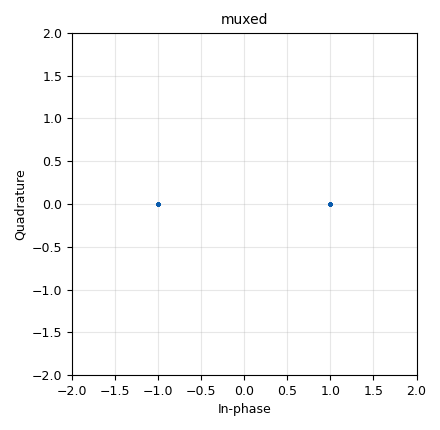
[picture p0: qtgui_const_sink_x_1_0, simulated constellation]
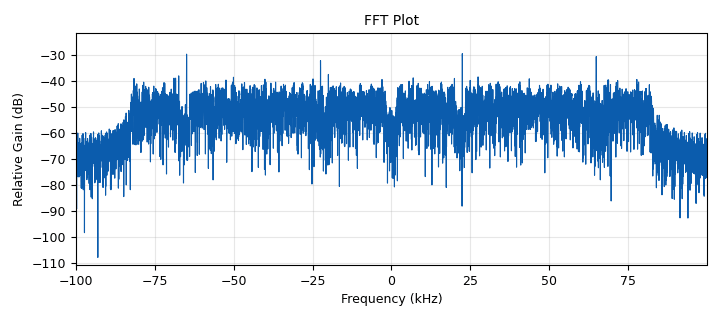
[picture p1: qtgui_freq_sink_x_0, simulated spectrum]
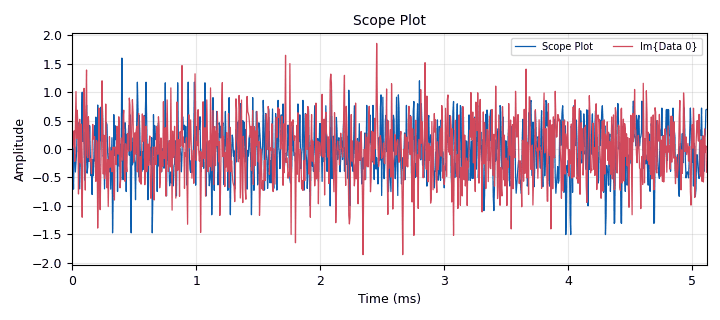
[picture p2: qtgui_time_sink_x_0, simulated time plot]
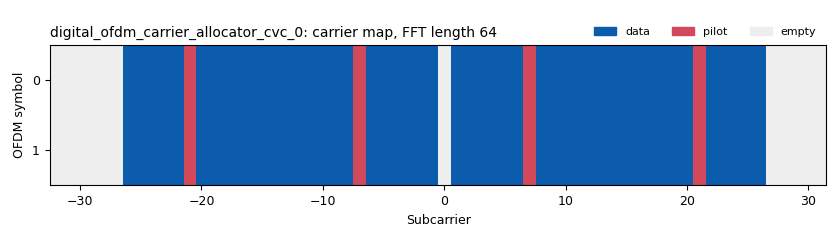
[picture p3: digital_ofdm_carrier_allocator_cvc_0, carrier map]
options:
  parameters:
    category: Custom
    description: Example of an OFDM Transmitter
    generate_options: qt_gui
    id: tx_ofdm
    output_language: python
    run_options: run
    title: OFDM Tx
  states: {}

blocks:
- name: fft_len
  id: variable
  parameters:
    value: '64'
  states: {}
- name: hdr_format
  id: variable
  parameters:
    value: digital.header_format_ofdm(occupied_carriers, 1, length_tag_key,)
  states: {}
- name: header_mod
  id: variable
  parameters:
    value: digital.constellation_bpsk()
  states: {}
- name: length_tag_key
  id: variable
  parameters:
    value: '"packet_len"'
  states: {}
- name: occupied_carriers
  id: variable
  parameters:
    value: (list(range(-26, -21)) + list(range(-20, -7)) + list(range(-6, 0)) + list(range(1, 7)) + list(range(8, 21)) + list(range(22, 27)),)
  states: {}
- name: packet_len
  id: variable
  parameters:
    value: '96'
  states: {}
- name: payload_mod
  id: variable
  parameters:
    value: digital.constellation_bpsk()
  states: {}
- name: pilot_carriers
  id: variable
  parameters:
    value: ((-21, -7, 7, 21,),)
  states: {}
- name: pilot_symbols
  id: variable
  parameters:
    value: ((1, 1, 1, -1,),)
  states: {}
- name: rolloff
  id: variable
  parameters:
    value: '0'
  states: {}
- name: samp_rate
  id: variable
  parameters:
    value: '200000'
  states: {}
- name: sync_word1
  id: variable
  parameters:
    value: '[0., 0., 0., 0., 0., 0., 0., 1.41421356, 0., -1.41421356, 0., 1.41421356, 0., -1.41421356, 0., -1.41421356, 0., -1.41421356, 0., 1.41421356, 0., -1.41421356, 0., 1.41421356, 0., -1.41421356, 0., -1.41421356, 0., -1.41421356, 0., -1.41421356, 0., 1.41421356, 0., -1.41421356, 0., 1.41421356, 0., 1.41421356, 0., 1.41421356, 0., -1.41421356, 0., 1.41421356, 0., 1.41421356, 0., 1.41421356, 0., -1.41421356, 0., 1.41421356, 0., 1.41421356, 0., 1.41421356, 0., 0., 0., 0., 0., 0.]'
  states: {}
- name: sync_word2
  id: variable
  parameters:
    value: '[0, 0, 0, 0, 0, 0, -1, -1, -1, -1, 1, 1, -1, -1, -1, 1, -1, 1, 1, 1, 1, 1, -1, -1, -1, -1, -1, 1, -1, -1, 1, -1, 0, 1, -1, 1, 1, 1, -1, 1, 1, 1, -1, 1, 1, 1, 1, -1, 1, -1, -1, -1, 1, -1, 1, -1, -1, -1, -1, 0, 0, 0, 0, 0] '
  states: {}
- name: tun_gain
  id: variable_qtgui_range
  parameters:
    label: tun_gain
    orient: Qt.Horizontal
    start: '0'
    step: '1'
    stop: '100'
    value: '50'
  states: {}
- name: analog_random_source_x_0
  id: analog_random_source_x
  parameters:
    max: '255'
    min: '0'
    num_samps: '1000'
    repeat: 'True'
    type: byte
  states: {}
- name: blocks_multiply_const_vxx_0
  id: blocks_multiply_const_vxx
  parameters:
    const: '0.1'
    type: complex
  states: {}
- name: blocks_repack_bits_bb_0
  id: blocks_repack_bits_bb
  parameters:
    endianness: gr.GR_LSB_FIRST
    k: '8'
    l: payload_mod.bits_per_symbol()
    len_tag_key: length_tag_key
  states: {}
- name: blocks_repack_bits_bb_0_0
  id: blocks_repack_bits_bb
  parameters:
    endianness: gr.GR_LSB_FIRST
    k: '8'
    l: '1'
    len_tag_key: length_tag_key
  states: {}
- name: blocks_stream_to_tagged_stream_0
  id: blocks_stream_to_tagged_stream
  parameters:
    len_tag_key: length_tag_key
    packet_len: packet_len
    type: byte
  states: {}
- name: blocks_stream_to_vector_0
  id: blocks_stream_to_vector
  parameters:
    num_items: '10240'
    type: complex
  states: {state: disabled}
- name: blocks_tag_debug_0
  id: blocks_tag_debug
  parameters:
    filter: ''
    name: payload_debug
    type: complex
  states: {state: disabled}
- name: blocks_tag_debug_0_0
  id: blocks_tag_debug
  parameters:
    filter: '"packet_len"'
    name: header_debug
    type: byte
  states: {state: disabled}
- name: blocks_tag_gate_0
  id: blocks_tag_gate
  parameters:
    propagate_tags: 'False'
    type: complex
  states: {}
- name: blocks_tagged_stream_mux_0
  id: blocks_tagged_stream_mux
  parameters:
    lengthtagname: length_tag_key
    ninputs: '2'
    type: complex
  states: {}
- name: blocks_unpack_k_bits_bb_0
  id: blocks_unpack_k_bits_bb
  parameters:
    k: '1'
  states: {state: bypassed}
- name: blocks_vector_to_stream_0
  id: blocks_vector_to_stream
  parameters:
    num_items: fft_len
    type: complex
  states: {state: disabled}
- name: digital_chunks_to_symbols_xx_0
  id: digital_chunks_to_symbols_xx
  parameters:
    dimension: '1'
    in_type: byte
    out_type: complex
    symbol_table: header_mod.points()
  states: {}
- name: digital_chunks_to_symbols_xx_0_0
  id: digital_chunks_to_symbols_xx
  parameters:
    dimension: '1'
    in_type: byte
    out_type: complex
    symbol_table: payload_mod.points()
  states: {}
- name: digital_crc32_bb_0
  id: digital_crc32_bb
  parameters:
    check: 'False'
    lengthtagname: length_tag_key
    packed: 'True'
  states: {}
- name: digital_ofdm_carrier_allocator_cvc_0
  id: digital_ofdm_carrier_allocator_cvc
  parameters:
    fft_len: fft_len
    len_tag_key: length_tag_key
    occupied_carriers: occupied_carriers
    output_is_shifted: 'True'
    pilot_carriers: pilot_carriers
    pilot_symbols: pilot_symbols
    sync_words: (sync_word1, sync_word2)
  states: {}
- name: digital_ofdm_cyclic_prefixer_0
  id: digital_ofdm_cyclic_prefixer
  parameters:
    cp_len: fft_len//4
    input_size: fft_len
    rolloff: rolloff
    tagname: length_tag_key
  states: {}
- name: digital_protocol_formatter_bb_0
  id: digital_protocol_formatter_bb
  parameters:
    format: hdr_format
    len_tag_key: length_tag_key
  states: {}
- name: fft_vxx_0
  id: fft_vxx
  parameters:
    fft_size: fft_len
    forward: 'False'
    shift: 'True'
    type: complex
    window: ()
  states: {}
- name: fft_vxx_1
  id: fft_vxx
  parameters:
    fft_size: '10240'
    forward: 'True'
    shift: 'True'
    type: complex
    window: window.blackmanharris(10240)
  states: {state: disabled}
- name: header_bits
  id: virtual_sink
  parameters:
    stream_id: Header Bits
  states: {}
- name: import_0
  id: import
  parameters:
    imports: from deepwive_v1 import soft_equalizer_single_tap, deepwive_packet_header
  states: {}
- name: import_1
  id: import
  parameters:
    imports: from deepwive_v1 import header_format
  states: {}
- name: import_1_0
  id: import
  parameters:
    imports: from gnuradio.digital.utils import tagged_streams
  states: {}
- name: import_1_0_0
  id: import
  parameters:
    imports: import gnuradio.digital as digital
  states: {}
- name: limesdr_sink_0
  id: limesdr_sink
  parameters:
    allow_tcxo_dac: '0'
    channel_mode: '0'
    gain_dB_ch0: tun_gain
    oversample: '0'
    pa_path_ch0: '1'
    pa_path_ch1: '1'
    rf_freq: 2.5e9
    samp_rate: samp_rate
    serial: 00090706024F2436
  states: {}
- name: low_pass_filter_0
  id: low_pass_filter
  parameters:
    cutoff_freq: samp_rate/2.3
    decim: '1'
    gain: '1'
    samp_rate: 'samp_rate '
    type: fir_filter_ccf
    width: '1000'
    win: firdes.WIN_HAMMING
  states: {state: bypassed}
- name: qtgui_const_sink_x_0
  id: qtgui_const_sink_x
  parameters:
    name: '"header"'
    size: '1024'
    type: complex
  states: {state: disabled}
- name: qtgui_const_sink_x_1
  id: qtgui_const_sink_x
  parameters:
    name: '"payload"'
    size: '1024'
    type: complex
  states: {state: disabled}
- name: qtgui_const_sink_x_1_0
  id: qtgui_const_sink_x
  parameters:
    name: '"muxed"'
    size: '1024'
    type: complex
  states: {}
- name: qtgui_freq_sink_x_0
  id: qtgui_freq_sink_x
  parameters:
    autoscale: 'True'
    bw: samp_rate
    fc: '0'
    fftsize: '10240'
    name: FFT Plot
    showports: 'True'
    type: complex
    wintype: firdes.WIN_BLACKMAN_hARRIS
  states: {}
- name: qtgui_time_sink_x_0
  id: qtgui_time_sink_x
  parameters:
    autoscale: 'True'
    label1: Scope Plot
    label2: ''
    name: Scope Plot
    size: '1024'
    srate: samp_rate
    type: complex
  states: {}
- name: qtgui_vector_sink_f_0
  id: qtgui_vector_sink_f
  parameters:
    vlen: '1024'
    x_start: '0'
    x_step: '1.0'
  states: {state: disabled}
- name: virtual_sink_0
  id: virtual_sink
  parameters:
    stream_id: Time Domain
  states: {}
- name: virtual_sink_0_0
  id: virtual_sink
  parameters:
    stream_id: Payload Bits
  states: {}
- name: virtual_sink_0_0_0
  id: virtual_sink
  parameters:
    stream_id: Pre-OFDM
  states: {}
- name: virtual_source_0
  id: virtual_source
  parameters:
    stream_id: Header Bits
  states: {}
- name: virtual_source_0_0
  id: virtual_source
  parameters:
    stream_id: Payload Bits
  states: {}
- name: virtual_source_0_0_0
  id: virtual_source
  parameters:
    stream_id: Pre-OFDM
  states: {}
- name: virtual_source_0_0_0_0
  id: virtual_source
  parameters:
    stream_id: Time Domain
  states: {}

connections:
- [analog_random_source_x_0, '0', blocks_unpack_k_bits_bb_0, '0']
- [blocks_multiply_const_vxx_0, '0', blocks_tag_gate_0, '0']
- [blocks_repack_bits_bb_0, '0', virtual_sink_0_0, '0']
- [blocks_repack_bits_bb_0_0, '0', header_bits, '0']
- [blocks_stream_to_tagged_stream_0, '0', digital_crc32_bb_0, '0']
- [blocks_stream_to_vector_0, '0', fft_vxx_1, '0']
- [blocks_tag_gate_0, '0', blocks_stream_to_vector_0, '0']
- [blocks_tag_gate_0, '0', limesdr_sink_0, '0']
- [blocks_tag_gate_0, '0', qtgui_freq_sink_x_0, '0']
- [blocks_tag_gate_0, '0', qtgui_time_sink_x_0, '0']
- [blocks_tagged_stream_mux_0, '0', qtgui_const_sink_x_1_0, '0']
- [blocks_tagged_stream_mux_0, '0', virtual_sink_0_0_0, '0']
- [blocks_unpack_k_bits_bb_0, '0', blocks_stream_to_tagged_stream_0, '0']
- [blocks_vector_to_stream_0, '0', virtual_sink_0, '0']
- [digital_chunks_to_symbols_xx_0, '0', blocks_tagged_stream_mux_0, '0']
- [digital_chunks_to_symbols_xx_0, '0', qtgui_const_sink_x_0, '0']
- [digital_chunks_to_symbols_xx_0_0, '0', blocks_tag_debug_0, '0']
- [digital_chunks_to_symbols_xx_0_0, '0', blocks_tagged_stream_mux_0, '1']
- [digital_chunks_to_symbols_xx_0_0, '0', qtgui_const_sink_x_1, '0']
- [digital_crc32_bb_0, '0', blocks_repack_bits_bb_0, '0']
- [digital_crc32_bb_0, '0', blocks_tag_debug_0_0, '0']
- [digital_crc32_bb_0, '0', digital_protocol_formatter_bb_0, '0']
- [digital_ofdm_carrier_allocator_cvc_0, '0', fft_vxx_0, '0']
- [digital_ofdm_cyclic_prefixer_0, '0', virtual_sink_0, '0']
- [digital_protocol_formatter_bb_0, '0', blocks_repack_bits_bb_0_0, '0']
- [fft_vxx_0, '0', blocks_vector_to_stream_0, '0']
- [fft_vxx_0, '0', digital_ofdm_cyclic_prefixer_0, '0']
- [fft_vxx_1, '0', qtgui_vector_sink_f_0, '0']
- [low_pass_filter_0, '0', blocks_multiply_const_vxx_0, '0']
- [virtual_source_0, '0', digital_chunks_to_symbols_xx_0, '0']
- [virtual_source_0_0, '0', digital_chunks_to_symbols_xx_0_0, '0']
- [virtual_source_0_0_0, '0', digital_ofdm_carrier_allocator_cvc_0, '0']
- [virtual_source_0_0_0_0, '0', low_pass_filter_0, '0']

metadata:
  file_format: 1
